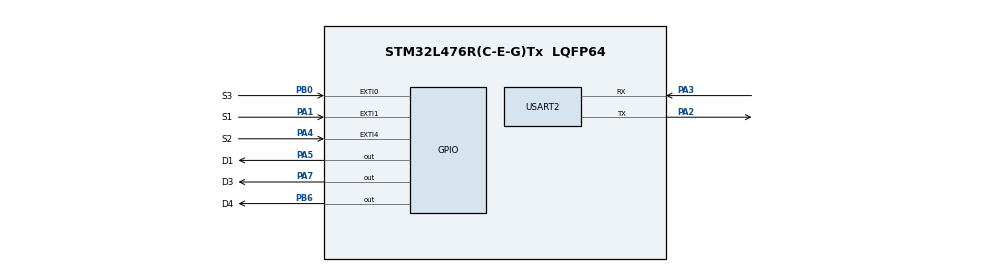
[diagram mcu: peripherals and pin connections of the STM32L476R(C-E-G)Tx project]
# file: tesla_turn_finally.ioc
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Mcu.Family=STM32L4
Mcu.Name=STM32L476R(C-E-G)Tx
Mcu.Package=LQFP64
NVIC.EXTI0_IRQn=true\:0\:0\:false\:false\:true\:true\:true\:true
NVIC.EXTI1_IRQn=true\:0\:0\:false\:false\:true\:true\:true\:true
NVIC.EXTI4_IRQn=true\:0\:0\:false\:false\:true\:true\:true\:true
NVIC.PriorityGroup=NVIC_PRIORITYGROUP_4
PA1.GPIO_Label=S1
PA1.GPIO_ModeDefaultEXTI=GPIO_MODE_IT_FALLING
PA1.Signal=GPXTI1
PA2.Mode=Asynchronous
PA2.Signal=USART2_TX
PA3.Mode=Asynchronous
PA3.Signal=USART2_RX
PA4.GPIO_Label=S2
PA4.GPIO_ModeDefaultEXTI=GPIO_MODE_IT_FALLING
PA4.Signal=GPXTI4
PA5.GPIO_Label=D1
PA5.Signal=GPIO_Output
PA7.GPIO_Label=D3
PA7.Signal=GPIO_Output
PB0.GPIO_Label=S3
PB0.GPIO_ModeDefaultEXTI=GPIO_MODE_IT_FALLING
PB0.Signal=GPXTI0
PB6.GPIO_Label=D4
PB6.Signal=GPIO_Output
ProjectManager.HeapSize=0x200
ProjectManager.StackSize=0x400
ProjectManager.TargetToolchain=STM32CubeIDE
RCC.HSE_VALUE=8000000
RCC.HSI_VALUE=16000000
RCC.LSE_VALUE=32768
RCC.MSI_VALUE=4000000
RCC.VCOOutputFreq_Value=32000000
USART2.VirtualMode-Asynchronous=VM_ASYNC
board=custom

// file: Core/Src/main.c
/* USER CODE BEGIN Header */
/**
  ******************************************************************************
  * @file           : main.c
  * @brief          : Main program body
  ******************************************************************************
  * @attention
  *
  * Copyright (c) 2024 STMicroelectronics.
  * All rights reserved.
  *
  * This software is licensed under terms that can be found in the LICENSE file
  * in the root directory of this software component.
  * If no LICENSE file comes with this software, it is provided AS-IS.
  *
  ******************************************************************************
  */
/* USER CODE END Header */
#include "main.h"
#define DEBOUNCE_TIME 300

UART_HandleTypeDef huart2;

/* USER CODE BEGIN PV */
uint32_t left_toggles = 0;
uint32_t right_toggles = 0,hazard_toggles=0;
uint32_t last_debounce_time_left = 0;
uint32_t last_debounce_time_right = 0,last_debounce_time_hazard = 0;
uint32_t counter_right=0, counter_left=0,counter_hazard=0;
/* USER CODE END PV */

void SystemClock_Config(void);
static void MX_GPIO_Init(void);
static void MX_USART2_UART_Init(void);
/* USER CODE BEGIN PFP */
void HAL_GPIO_EXTI_Callback(uint16_t GPIO_Pin){

	  /* Prevent unused argument(s) compilation warning */
	  UNUSED(GPIO_Pin);
	  uint32_t current_time = HAL_GetTick();

	  //se condicionan las acciones a realizar si se realizan las interrupciones en cada boton

	  if (GPIO_Pin == S1_Pin){

		  // se usa un Debounce_time para evitar le ruido por rebote. es decir despues de un puslo se espera el tiempo de debounce time para poder contar otra pulsasion

		  if (current_time - last_debounce_time_left >= DEBOUNCE_TIME) {

			  // Tiempo de reset de 1 segundo, exeptuando el reset despues de dos pulsasiones.
	          if (current_time - last_debounce_time_left > 1000 && counter_left < 2) {
	              counter_left = 0;
	          }

	// se inicia el contador de pulsos
			  counter_left++;
			  last_debounce_time_left = current_time;

	//se asegura apagar la otra lapara cuando esat se encienda.
			  if(counter_left>0){
			 			  right_toggles=0;
			 		  }
	// se condiciona el contador para hacer la accion segun la cantidad de pulsos
			  if(counter_left==1){

	        	  HAL_UART_Transmit(&huart2, "S1\r\n", 4, 10);
	        	  left_toggles = 6;
	          }
	          else if(counter_left==2){
	        	  HAL_UART_Transmit(&huart2, "S1_toggles\r\n",12, 10);
	        	  left_toggles = 0xEEEEEEE;  // Contador muy grande, hace que haya un parpadeo practicamente infito.

	          }
	          else if (counter_left>=3){  // si hay una tercera pulsasion se resetean los contadores (se apaga el led)
	        	  HAL_UART_Transmit(&huart2, "S1_off\r\n",8, 10);
	        	  counter_left=0;
	        	  left_toggles = 0;

	          }

	     }

	  // De la misma forma se hace para el boton S1
	  } else if (GPIO_Pin == S2_Pin){
		  if (current_time - last_debounce_time_right >= DEBOUNCE_TIME) {

	          if(current_time - last_debounce_time_right > 1000 && counter_right<2){
	        	  counter_right=0;
	          }
		       counter_right++;
		       last_debounce_time_right = current_time;

				  if(counter_right>0){
				 			  left_toggles=0;
				 		  }

		      if(counter_right==1){

		          HAL_UART_Transmit(&huart2, "S2\r\n",4, 10);
		          right_toggles = 6;

		          }

		          else if(counter_right==2){

		        	  HAL_UART_Transmit(&huart2, "S2_toggles\r\n", 12, 10);
		              right_toggles = 0xEEEEEEE;
		          }
		          else if(counter_right>=3){

		        	  HAL_UART_Transmit(&huart2, "S2_off\r\n", 8, 10);
		              right_toggles = 0;
		         	  counter_right = 0;
		          }

		          }

		  }else if(GPIO_Pin==S3_Pin){// El Boton S3 es para la señal de parqueo

			  if (current_time - last_debounce_time_right >= DEBOUNCE_TIME) {  // Evitar rebote

			       counter_hazard++;
			       last_debounce_time_right = current_time;

					  if(counter_hazard>0){ // si se activan las estacionarias, se apagan las direccionales
						  left_toggles = 0;
						  right_toggles = 0;
					  }

			      if(counter_hazard==1){ //se pone una bandera Hazadr_toggles si hay una pulsacion.

			          HAL_UART_Transmit(&huart2, "S3_on\r\n",7, 10);

			          hazard_toggles=1;

			          }
	//
			          else if(counter_hazard>=2){ // se pone en cero la bandera y el resto de contadores(se apagan las dos luces)

			        	  HAL_UART_Transmit(&huart2, "S3_off\r\n", 8, 10);
			              right_toggles = 0;
			              left_toggles = 0;
			         	  counter_hazard = 0;
			         	  hazard_toggles=0;

			          }

			          }

		  }

}
/* USER CODE END PFP */

/* USER CODE BEGIN 0 */
void heartbeat (void){

	static uint32_t heartbeat_tick = 0;
	if(heartbeat_tick  < HAL_GetTick() ){
		heartbeat_tick = HAL_GetTick() + 500;
		HAL_GPIO_TogglePin(D1_GPIO_Port, D1_Pin);
	}
}
/* USER CODE END 0 */
void turn_signal_left (void){
	static uint32_t tunr_togle_tick = 0;
	if(tunr_togle_tick  < HAL_GetTick() ){

		if(left_toggles> 0){// si el contador es mayor que cero se ejecuta la accion
			tunr_togle_tick = HAL_GetTick() + 300;  // tiempo actual tyransucrrido mas 300 ms
			HAL_GPIO_TogglePin(D3_GPIO_Port, D3_Pin);  // se hace un cambio de estado del pin del LED cada 300ms
			left_toggles--; // se resta 1 cada por cada ciclo.(este condtador decide cuatas veces se hace el parpadeo)
		} else{

			HAL_GPIO_WritePin(D3_GPIO_Port, D3_Pin, 1);  // si no se activa la direccional, que permanezca apagada
		}

	}
}

void turn_signal_right (void){

	static uint32_t tunr_togle_tick = 0;
	if(tunr_togle_tick  < HAL_GetTick() ){
		if(right_toggles> 0){
			tunr_togle_tick = HAL_GetTick() + 300;
			HAL_GPIO_TogglePin(D4_GPIO_Port, D4_Pin);
			right_toggles--;

		} else{
			HAL_GPIO_WritePin(D4_GPIO_Port, D4_Pin, 1);

		}

	}
}
int main(void)
{

  /* MCU Configuration--------------------------------------------------------*/

  /* Reset of all peripherals, Initializes the Flash interface and the Systick. */
  HAL_Init();

  /* Configure the system clock */
  SystemClock_Config();

  /* Initialize all configured peripherals */
  MX_GPIO_Init();
  MX_USART2_UART_Init();

  /* Infinite loop */
  while (1)
  {

	  //Llamado a funciones
	  heartbeat();
	  turn_signal_left();
	  turn_signal_right();

	  //control de señal de parqueo
	  if(counter_hazard==1){
		  HAL_GPIO_WritePin(D3_GPIO_Port, D3_Pin, 1);
		  HAL_GPIO_WritePin(D4_GPIO_Port, D4_Pin, 1);
		  HAL_Delay(300);
		  HAL_GPIO_WritePin(D3_GPIO_Port, D3_Pin, 0);
		  HAL_GPIO_WritePin(D4_GPIO_Port, D4_Pin, 0);
		  HAL_Delay(300);

		  //si la bandera counter_hazard esta activa se realiza un parapdeo infinito con el uso del Delay. Esto hace que las luces de parqueo tengan la maxima prioridad.

// si la bandera no esta activa no se hace nada.
	  }

  }
}

void SystemClock_Config(void)
{
  RCC_OscInitTypeDef RCC_OscInitStruct = {0};
  RCC_ClkInitTypeDef RCC_ClkInitStruct = {0};

  /** Configure the main internal regulator output voltage
  */
  if (HAL_PWREx_ControlVoltageScaling(PWR_REGULATOR_VOLTAGE_SCALE1) != HAL_OK)
  {
    Error_Handler();
  }

  /** Initializes the RCC Oscillators according to the specified parameters
  * in the RCC_OscInitTypeDef structure.
  */
  RCC_OscInitStruct.OscillatorType = RCC_OSCILLATORTYPE_MSI;
  RCC_OscInitStruct.MSIState = RCC_MSI_ON;
  RCC_OscInitStruct.MSICalibrationValue = 0;
  RCC_OscInitStruct.MSIClockRange = RCC_MSIRANGE_6;
  RCC_OscInitStruct.PLL.PLLState = RCC_PLL_NONE;
  if (HAL_RCC_OscConfig(&RCC_OscInitStruct) != HAL_OK)
  {
    Error_Handler();
  }

  /** Initializes the CPU, AHB and APB buses clocks
  */
  RCC_ClkInitStruct.ClockType = RCC_CLOCKTYPE_HCLK|RCC_CLOCKTYPE_SYSCLK
                              |RCC_CLOCKTYPE_PCLK1|RCC_CLOCKTYPE_PCLK2;
  RCC_ClkInitStruct.SYSCLKSource = RCC_SYSCLKSOURCE_MSI;
  RCC_ClkInitStruct.AHBCLKDivider = RCC_SYSCLK_DIV1;
  RCC_ClkInitStruct.APB1CLKDivider = RCC_HCLK_DIV1;
  RCC_ClkInitStruct.APB2CLKDivider = RCC_HCLK_DIV1;

  if (HAL_RCC_ClockConfig(&RCC_ClkInitStruct, FLASH_LATENCY_0) != HAL_OK)
  {
    Error_Handler();
  }
}

static void MX_USART2_UART_Init(void)
{

  huart2.Instance = USART2;
  huart2.Init.BaudRate = 115200;
  huart2.Init.WordLength = UART_WORDLENGTH_8B;
  huart2.Init.StopBits = UART_STOPBITS_1;
  huart2.Init.Parity = UART_PARITY_NONE;
  huart2.Init.Mode = UART_MODE_TX_RX;
  huart2.Init.HwFlowCtl = UART_HWCONTROL_NONE;
  huart2.Init.OverSampling = UART_OVERSAMPLING_16;
  huart2.Init.OneBitSampling = UART_ONE_BIT_SAMPLE_DISABLE;
  huart2.AdvancedInit.AdvFeatureInit = UART_ADVFEATURE_NO_INIT;
  if (HAL_UART_Init(&huart2) != HAL_OK)
  {
    Error_Handler();
  }

}

static void MX_GPIO_Init(void)
{
  GPIO_InitTypeDef GPIO_InitStruct = {0};

  /* GPIO Ports Clock Enable */
  __HAL_RCC_GPIOA_CLK_ENABLE();
  __HAL_RCC_GPIOB_CLK_ENABLE();

  /*Configure GPIO pin Output Level */
  HAL_GPIO_WritePin(GPIOA, D1_Pin|D3_Pin, GPIO_PIN_RESET);

  /*Configure GPIO pin Output Level */
  HAL_GPIO_WritePin(D4_GPIO_Port, D4_Pin, GPIO_PIN_RESET);

  /*Configure GPIO pins : S1_Pin S2_Pin */
  GPIO_InitStruct.Pin = S1_Pin|S2_Pin;
  GPIO_InitStruct.Mode = GPIO_MODE_IT_FALLING;
  GPIO_InitStruct.Pull = GPIO_NOPULL;
  HAL_GPIO_Init(GPIOA, &GPIO_InitStruct);

  /*Configure GPIO pins : D1_Pin D3_Pin */
  GPIO_InitStruct.Pin = D1_Pin|D3_Pin;
  GPIO_InitStruct.Mode = GPIO_MODE_OUTPUT_PP;
  GPIO_InitStruct.Pull = GPIO_NOPULL;
  GPIO_InitStruct.Speed = GPIO_SPEED_FREQ_LOW;
  HAL_GPIO_Init(GPIOA, &GPIO_InitStruct);

  /*Configure GPIO pin : S3_Pin */
  GPIO_InitStruct.Pin = S3_Pin;
  GPIO_InitStruct.Mode = GPIO_MODE_IT_FALLING;
  GPIO_InitStruct.Pull = GPIO_NOPULL;
  HAL_GPIO_Init(S3_GPIO_Port, &GPIO_InitStruct);

  /*Configure GPIO pin : D4_Pin */
  GPIO_InitStruct.Pin = D4_Pin;
  GPIO_InitStruct.Mode = GPIO_MODE_OUTPUT_PP;
  GPIO_InitStruct.Pull = GPIO_NOPULL;
  GPIO_InitStruct.Speed = GPIO_SPEED_FREQ_LOW;
  HAL_GPIO_Init(D4_GPIO_Port, &GPIO_InitStruct);

  /* EXTI interrupt init*/
  HAL_NVIC_SetPriority(EXTI0_IRQn, 0, 0);
  HAL_NVIC_EnableIRQ(EXTI0_IRQn);

  HAL_NVIC_SetPriority(EXTI1_IRQn, 0, 0);
  HAL_NVIC_EnableIRQ(EXTI1_IRQn);

  HAL_NVIC_SetPriority(EXTI4_IRQn, 0, 0);
  HAL_NVIC_EnableIRQ(EXTI4_IRQn);

}

void Error_Handler(void)
{
  __disable_irq();
  while (1)
  {
  }
}
